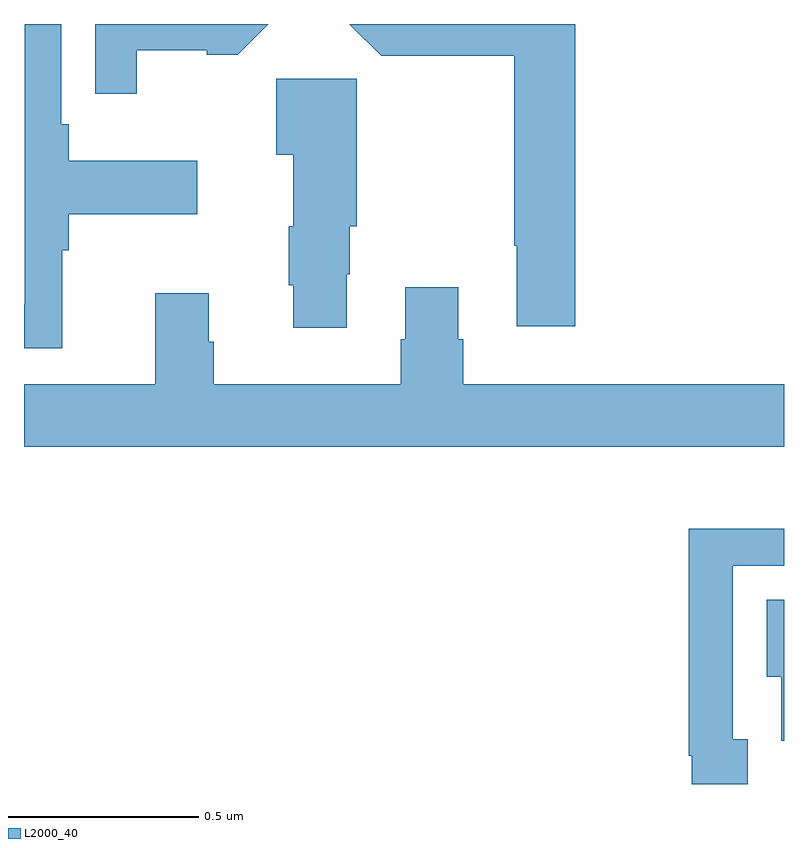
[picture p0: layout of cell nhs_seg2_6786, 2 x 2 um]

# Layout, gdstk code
import gdstk
lib = gdstk.Library(unit=1e-6, precision=1e-09)
def P(c, l, *ps):  # polygons
    for p in ps: c.add(gdstk.Polygon(p, *l))
L2000_40 = (2000, 40)

nhs_seg2_6786 = lib.new_cell('nhs_seg2_6786')
P(nhs_seg2_6786, L2000_40, [(196.101,596.204),(196.118,596.204),(196.118,596.3),(196.456,596.3),(196.456,596.44),(196.118,596.44),(196.118,596.536),(196.098,596.536),(196.098,596.8),(196.002,596.8),(196.002,596.063),(196,596.063),(196,595.947),(196.101,595.947)],
  [(196.297,596.731),(196.481,596.731),(196.481,596.719),(196.562,596.719),(196.643,596.8),(196.188,596.8),(196.188,596.616),(196.297,596.616)],
  [(197.45,596.8),(196.856,596.8),(196.94,596.716),(197.29,596.716),(197.29,596.216),(197.297,596.216),(197.297,596.004),(197.45,596.004)],
  [(196.849,596.141),(196.857,596.141),(196.857,596.268),(196.875,596.268),(196.875,596.656),(196.664,596.656),(196.664,596.456),(196.709,596.456),(196.709,596.268),(196.697,596.268),(196.697,596.113),(196.709,596.113),(196.709,596.001),(196.849,596.001)],
  [(198,595.852),(197.156,595.852),(197.156,595.971),(197.143,595.971),(197.143,596.107),(197.003,596.107),(197.003,595.971),(196.991,595.971),(196.991,595.852),(196.499,595.852),(196.499,595.964),(196.486,595.964),(196.486,596.092),(196.346,596.092),(196.346,595.852),(196,595.852),(196,595.688),(198,595.688)],
  [(197.905,594.918),(197.865,594.918),(197.865,595.374),(198,595.374),(198,595.472),(197.749,595.472),(197.749,594.874),(197.757,594.874),(197.757,594.8),(197.905,594.8)],
  [(198,595.285),(197.954,595.285),(197.954,595.082),(197.993,595.082),(197.993,594.914),(198,594.914)])

lib.write_gds('nhs_seg2_6786.gds')
